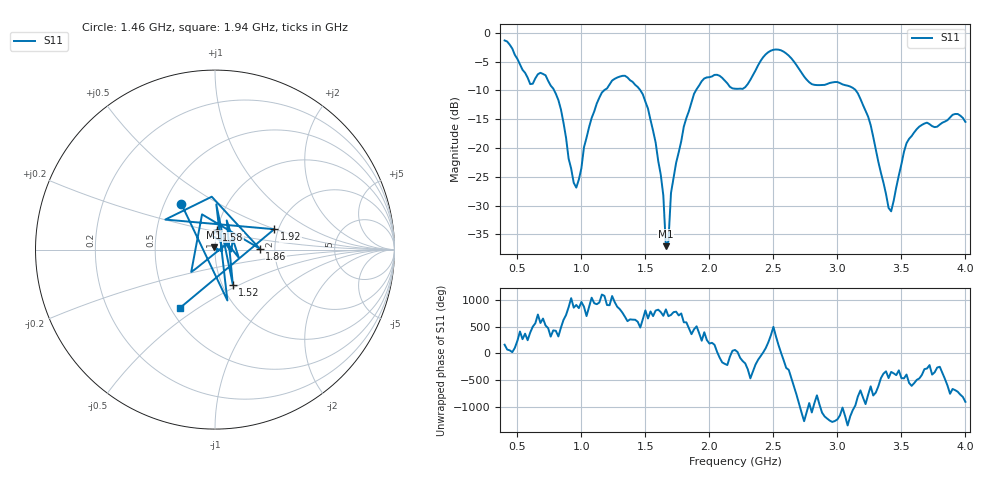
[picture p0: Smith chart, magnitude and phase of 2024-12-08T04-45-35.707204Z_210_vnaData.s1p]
!Created with skrf (http://scikit-rf.org).
# Hz S RI R 50.0
!freq ReS11 ImS11
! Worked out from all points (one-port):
!   181 points, 400 MHz to 4 GHz, reference 50 ohm
!   lowest |S11| = -37.0 dB at 1.66 GHz (marker M1), VSWR 1.03, Z = 49.6 + j1.33 ohm
!   |S11| at or under -10 dB: 787 MHz to 1.177 GHz (390.3 MHz wide, 39.7 % of centre); 1.461 GHz to 1.895 GHz (434 MHz wide, 25.9 % of centre); 3.143 GHz to end of sweep
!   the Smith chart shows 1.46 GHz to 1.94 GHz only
!   S11 on the Smith chart (normalised r, x): 1.46 GHz: 0.61, +0.35; 1.52 GHz: 1.12, -0.46; 1.58 GHz: 0.99, +0.22; 1.86 GHz: 1.66, +0.02; 1.92 GHz: 1.90, +0.49; 1.94 GHz: 0.56, -0.42
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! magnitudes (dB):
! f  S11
! 400 MHz  -1.3
! 600 MHz  -8.9
! 720 MHz  -7.4
! 860 MHz  -15.6
! 960 MHz  -26.9
! 1.12 GHz  -12.3
! 1.3 GHz  -7.6
! 1.46 GHz  -10.0
! 1.52 GHz  -13.2
! 1.58 GHz  -19.1
! 1.64 GHz  -28.2
! 1.66 GHz  -37.0
! 1.68 GHz  -36.2
! 1.7 GHz  -27.8
! 1.76 GHz  -20.8
! 1.86 GHz  -12.1
! 1.92 GHz  -9.1
! 1.94 GHz  -8.4
! 2.2 GHz  -9.7
! 2.48 GHz  -3.1
! 2.66 GHz  -5.0
! 2.8 GHz  -8.9
! 3.1 GHz  -9.3
! 3.24 GHz  -14.6
! 3.42 GHz  -31.0
! 3.56 GHz  -18.4
! 3.92 GHz  -14.1
! 4 GHz  -15.5
